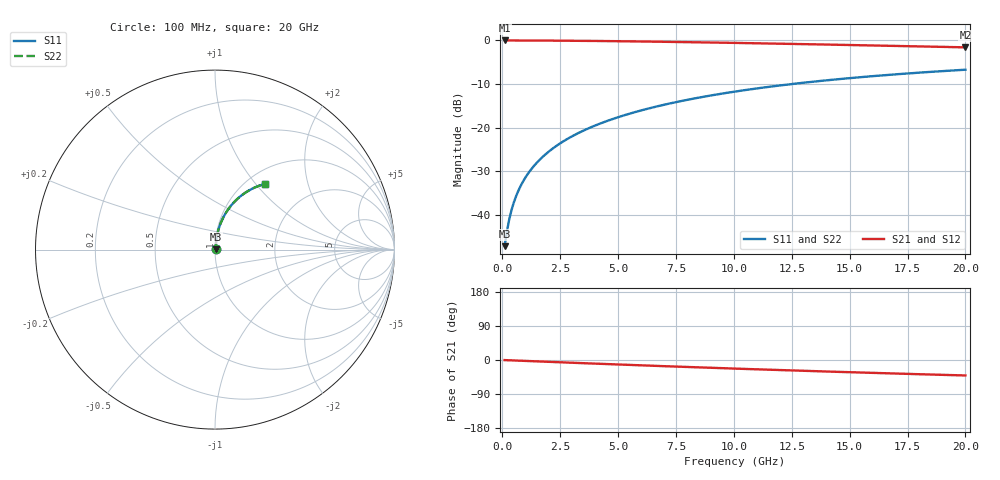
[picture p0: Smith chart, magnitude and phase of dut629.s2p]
! Touchstone file exported from HFSS 2024.1.0
!  File:  C:/UserFiles/LocalFiles/RDL_TSV_Batchsim/temp_RDL_bottom_629_1779784412.aedt
!  Generated:  04:35:59 PM May 26, 2026
!  Design:  RDL_bottom
!  Project:  temp_RDL_bottom_629_1779784412
!  Setup:  Setup1
!  Solution:  Sweep
! Variables:
!  dtsv = 10.80580581um
!  hbump = 3um
!  htsv = 53.59um
!  ldown = 515.45um
!  lrdl = 100um
!  p = 40
!  p1 = 54.54um
!  rhole = 1um
!  t = 450um
!  tdown = 3.92um
!  trdl = 3.915915916um
!  wdown = 13.95um
!  wrdl = 20um
# GHz S MA R 50.000000
! Terminal data exported
! Port[1] = RDL1_T1
! Port[2] = RDL1_T2
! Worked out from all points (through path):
!   200 points, 100 MHz to 20 GHz, reference 50 ohm
!   highest |S21| = -0.03 dB at 100 MHz (marker M1); lowest = -1.6 dB at 20 GHz (marker M2)
!   group delay of S21, straight-line fit = 5.66 ps
!   lowest |S11| = -47.1 dB at 100 MHz (marker M3), VSWR 1.01, Z = 50.3 + j0.276 ohm
!   |S11| at or under -10 dB: start of sweep to 12.52 GHz
!   |S22| runs from -47.1 to -6.7 dB; largest |S21 - S12| = 5.5e-15
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0.1  0.004395 38.6  0.9966 -0.2  0.9966 -0.2  0.004395 38.6
! Gamma 0 0 0 0
! Port Impedance 50 0 50 0
0.2  0.006496 57.2  0.9965 -0.5  0.9965 -0.5  0.006496 57.2
0.3  0.008917 65.9  0.9964 -0.7  0.9964 -0.7  0.008917 65.9
0.4  0.01143 70.7  0.9962 -1.0  0.9962 -1.0  0.01143 70.7
0.5  0.01398 73.7  0.9961 -1.2  0.9961 -1.2  0.01398 73.7
0.6  0.01654 75.8  0.9959 -1.5  0.9959 -1.5  0.01654 75.8
0.8  0.0217 78.4  0.9956 -2.0  0.9956 -2.0  0.0217 78.4
1.1  0.02949 80.4  0.9951 -2.7  0.9951 -2.7  0.02949 80.4
1.5  0.03993 81.6  0.9942 -3.6  0.9942 -3.6  0.03993 81.6
1.8  0.04778 82.0  0.9934 -4.4  0.9934 -4.4  0.04778 82.0
2.1  0.05565 82.1  0.9924 -5.1  0.9924 -5.1  0.05565 82.1
2.7  0.0714 81.9  0.9901 -6.5  0.9901 -6.5  0.0714 81.9
3.5  0.09241 81.2  0.9863 -8.4  0.9863 -8.4  0.0924 81.2
4.2  0.1108 80.3  0.9823 -10.0  0.9823 -10.0  0.1108 80.2
5  0.1317 79.1  0.9772 -11.9  0.9772 -11.9  0.1317 79.1
5.9  0.155 77.6  0.9707 -13.9  0.9707 -13.9  0.155 77.6
6.8  0.1782 76.1  0.9636 -15.9  0.9636 -15.9  0.1782 76.1
8.3  0.2161 73.4  0.9508 -19.1  0.9508 -19.1  0.2161 73.4
10.1  0.2602 70.1  0.934 -22.8  0.934 -22.8  0.2601 70.0
13.4  0.3355 64.0  0.9008 -29.3  0.9008 -29.3  0.3354 64.0
16.7  0.4025 58.1  0.866 -35.3  0.866 -35.3  0.4024 58.1
20  0.4608 52.7  0.8309 -40.8  0.8309 -40.8  0.4607 52.6
